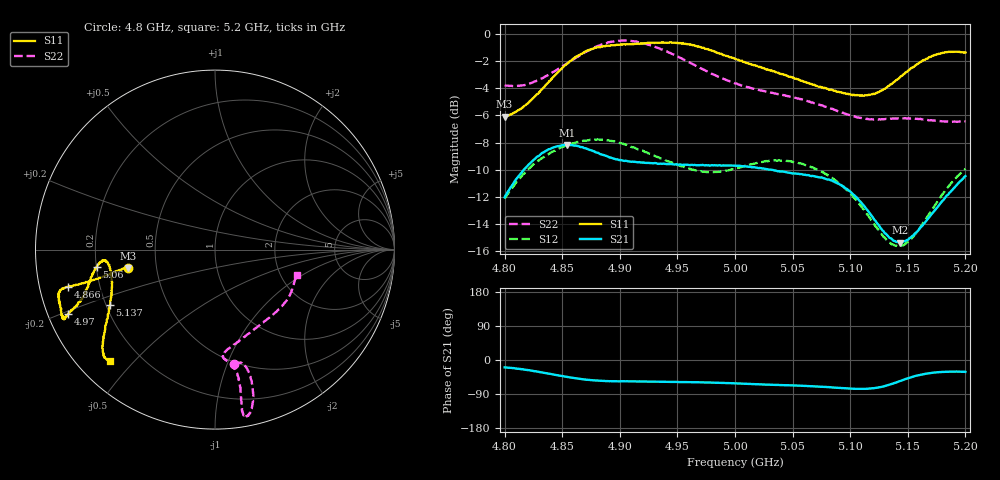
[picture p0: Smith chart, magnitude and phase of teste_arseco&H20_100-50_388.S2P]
! Network Analyzer HP8722D
! Hewlett-Packard
! Data name: Linha & Wilkinson
! Saver's name: Rodrigo Anjos
! Comments: Teste da utilização de aquisição
! continua pelo VNA HP8722D
! Time and date: 6/5/2025 15:48
!  Frequency  S11  S21  S12  S22
# HZ  S  MA R 50
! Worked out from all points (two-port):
!   401 points, 4.8 GHz to 5.2 GHz, reference 50 ohm
!   highest |S21| = -8.17 dB at 4.854 GHz (marker M1); lowest = -15.3 dB at 5.143 GHz (marker M2)
!   |S21| within 3 dB of the highest: 4.806 GHz to 5.093 GHz (286.5 MHz wide, 5.79 % of centre); 5.191873 GHz to end of sweep
!   lowest |S11| = -6.1 dB at 4.8 GHz (marker M3), VSWR 2.97, Z = 17 - j4.61 ohm
!   |S11| at or under -10 dB: nowhere
!   |S22| runs from -6.5 to -0.5 dB; largest |S21 - S12| = 0.62
!   S11 on the Smith chart (normalised r, x): 4.8 GHz: 0.34, -0.09; 4.866 GHz: 0.09, -0.12; 4.97 GHz: 0.06, -0.21; 5.06 GHz: 0.20, -0.07; 5.137 GHz: 0.22, -0.24; 5.2 GHz: 0.09, -0.43
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4.8e9  0.4959 -168.1  0.2507 -19.6  0.2482 -140.8  0.648 -80.4
4.826e9  0.5871 -167.2  0.3463 -29.5  0.3332 -144.3  0.6689 -75.6
4.854e9  0.7758 -165.8  0.3905 -44.8  0.3892 -149.6  0.7784 -74.6
4.866e9  0.8424 -165.7  0.3834 -50.3  0.4018 -151.7  0.8369 -75.2
4.867e9  0.8451 -165.7  0.3837 -50.6  0.4028 -151.8  0.8424 -75.4
4.88e9  0.8907 -165.4  0.366 -54.5  0.4089 -154.0  0.8989 -76.7
4.901e9  0.9148 -162.2  0.3436 -56.2  0.3965 -156.6  0.9451 -79.1
4.934e9  0.9276 -156.2  0.3329 -57.4  0.3509 -155.4  0.8853 -80.4
4.97e9  0.8943 -156.3  0.3295 -59.1  0.3127 -146.9  0.7481 -79.6
5e9  0.8091 -158.9  0.3276 -61.7  0.3196 -137.1  0.6577 -81.2
5.033e9  0.7284 -164.7  0.316 -65.5  0.3418 -134.2  0.6062 -85.5
5.06e9  0.6674 -171.6  0.3033 -68.1  0.3308 -135.9  0.5706 -84.2
5.067e9  0.6512 -172.9  0.3004 -69.1  0.3234 -136.6  0.5594 -82.7
5.087e9  0.6176 -174.3  0.2847 -72.9  0.2897 -138.5  0.5247 -74.9
5.102e9  0.595 -171.7  0.2582 -75.7  0.254 -138.6  0.4991 -66.0
5.116e9  0.5967 -165.6  0.2218 -75.8  0.2135 -135.4  0.4855 -55.9
5.134e9  0.6459 -154.1  0.1782 -65.4  0.1707 -120.9  0.4864 -43.3
5.137e9  0.6597 -152.3  0.1743 -62.4  0.1682 -117.0  0.4884 -41.4
5.143e9  0.6909 -149.2  0.1708 -55.9  0.1657 -109.1  0.4883 -38.0
5.153e9  0.7485 -144.8  0.1791 -45.4  0.1763 -96.2  0.4887 -32.8
5.172e9  0.8328 -138.9  0.2206 -33.5  0.229 -81.1  0.4805 -24.4
5.2e9  0.8533 -133.5  0.2999 -31.3  0.3193 -76.7  0.4772 -17.5
